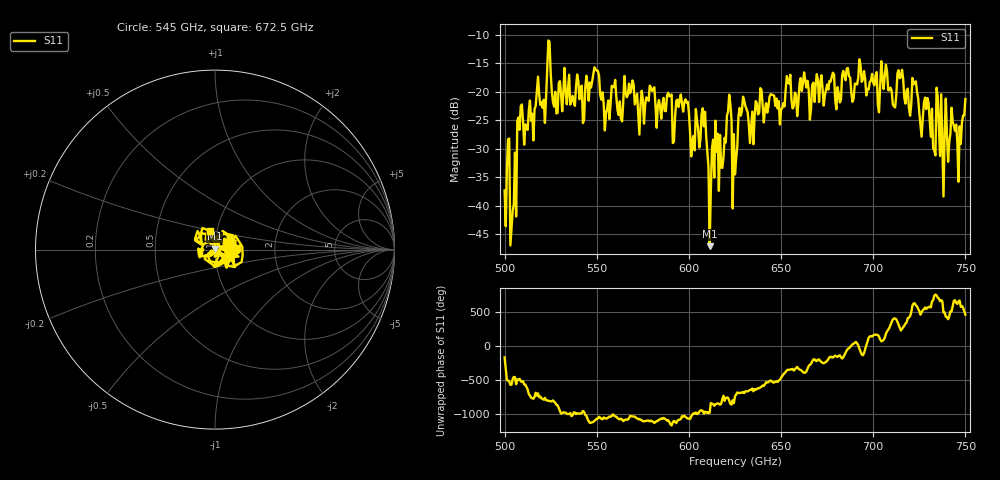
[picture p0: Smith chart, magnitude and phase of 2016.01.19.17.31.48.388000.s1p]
!Created with skrf (http://scikit-rf.org).
# GHz S RI R 50.0
!freq ReS11 ImS11
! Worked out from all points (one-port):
!   401 points, 500 GHz to 750 GHz, reference 50 ohm
!   lowest |S11| = -47.1 dB at 611.2 GHz (marker M1), VSWR 1.01, Z = 50 + j0.442 ohm
!   |S11| at or under -10 dB: start of sweep to end of sweep
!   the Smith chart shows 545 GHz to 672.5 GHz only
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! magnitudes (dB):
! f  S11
! 500 GHz  -37.3
! 505 GHz  -39.7
! 508.1 GHz  -26.7
! 521.2 GHz  -21.4
! 524.4 GHz  -11.3
! 527.5 GHz  -20.0
! 531.2 GHz  -23.4
! 550 GHz  -16.3
! 562.5 GHz  -21.7
! 568.8 GHz  -19.5
! 593.8 GHz  -21.4
! 601.9 GHz  -28.6
! 608.1 GHz  -26.1
! 611.2 GHz  -47.1
! 621.9 GHz  -20.5
! 625 GHz  -34.5
! 628.8 GHz  -23.4
! 633.8 GHz  -26.1
! 656.2 GHz  -22.9
! 687.5 GHz  -17.5
! 714.4 GHz  -17.6
! 718.8 GHz  -19.5
! 722.5 GHz  -18.4
! 732.5 GHz  -29.9
! 735.6 GHz  -26.2
! 737.5 GHz  -29.3
! 746.9 GHz  -26.1
! 750 GHz  -21.3
